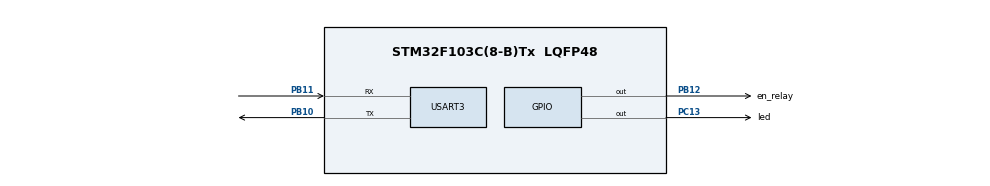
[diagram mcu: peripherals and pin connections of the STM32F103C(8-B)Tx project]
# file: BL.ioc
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IWDG.Prescaler=IWDG_PRESCALER_8
IWDG.Reload=2500
Mcu.Family=STM32F1
Mcu.Name=STM32F103C(8-B)Tx
Mcu.Package=LQFP48
NVIC.PriorityGroup=NVIC_PRIORITYGROUP_4
NVIC.USART3_IRQn=true\:1\:0\:true\:false\:true\:true\:true\:true
PA13.Mode=Serial_Wire
PA13.Signal=SYS_JTMS-SWDIO
PA14.Mode=Serial_Wire
PA14.Signal=SYS_JTCK-SWCLK
PA4.GPIO_Label=ntc_pcb
PA4.Signal=ADCx_IN4
PA5.GPIO_Label=div5v
PA5.Signal=ADCx_IN5
PA6.GPIO_Label=divm3v
PA6.Signal=ADCx_IN6
PA7.GPIO_Label=Teng
PA7.Signal=ADCx_IN7
PA8.GPIO_Label=pwm_in
PA8.Signal=S_TIM1_CH1
PB10.Mode=Asynchronous
PB10.Signal=USART3_TX
PB11.Mode=Asynchronous
PB11.Signal=USART3_RX
PB12.GPIO_Label=en_relay
PB12.Signal=GPIO_Output
PC13-TAMPER-RTC.GPIO_Label=led
PC13-TAMPER-RTC.Signal=GPIO_Output
PD0-OSC_IN.Mode=HSE-External-Oscillator
PD0-OSC_IN.Signal=RCC_OSC_IN
PD1-OSC_OUT.Mode=HSE-External-Oscillator
PD1-OSC_OUT.Signal=RCC_OSC_OUT
ProjectManager.HeapSize=0x100
ProjectManager.StackSize=0x400
ProjectManager.TargetToolchain=Makefile
RCC.ADCPresc=RCC_ADCPCLK2_DIV8
RCC.AHBFreq_Value=72000000
RCC.APB1CLKDivider=RCC_HCLK_DIV2
RCC.APB1Freq_Value=36000000
RCC.APB1TimFreq_Value=72000000
RCC.APB2CLKDivider=RCC_HCLK_DIV8
RCC.APB2Freq_Value=9000000
RCC.APB2TimFreq_Value=18000000
RCC.HCLKFreq_Value=72000000
RCC.PLLMUL=RCC_PLL_MUL9
RCC.PLLSourceVirtual=RCC_PLLSOURCE_HSE
RCC.SYSCLKFreq_VALUE=72000000
RCC.SYSCLKSource=RCC_SYSCLKSOURCE_PLLCLK
RCC.USBFreq_Value=72000000
SH.ADCx_IN4.0=ADC1_IN4
SH.ADCx_IN5.0=ADC1_IN5
SH.ADCx_IN6.0=ADC1_IN6
SH.ADCx_IN7.0=ADC1_IN7
SH.S_TIM1_CH1.0=TIM1_CH1
USART3.VirtualMode=VM_ASYNC
VP_IWDG_VS_IWDG.Mode=IWDG_Activate
board=custom

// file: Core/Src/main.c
/* USER CODE BEGIN Header */
/**
  ******************************************************************************
  * @file           : main.c
  * @brief          : Main program body
  ******************************************************************************
  * @attention
  *
  * Copyright (c) 2023 STMicroelectronics.
  * All rights reserved.
  *
  * This software is licensed under terms that can be found in the LICENSE file
  * in the root directory of this software component.
  * If no LICENSE file comes with this software, it is provided AS-IS.
  *
  ******************************************************************************
  */
/* USER CODE END Header */
#include "main.h"
#include "iwdg.h"
#include "usart.h"
#include "gpio.h"

/* USER CODE BEGIN Includes */
#include "device.h"
#include "stm32f1xx_it.h"
#include "usart_console.h"
/* USER CODE END Includes */

/* USER CODE BEGIN PV */
extern uint16_t dma_buffer[];
extern uint32_t __isr_vector_end;
/* USER CODE END PV */

void SystemClock_Config(void);

int main(void)
{
  /* USER CODE BEGIN 1 */
  #ifdef CHECK_STACK_HEAP
  init_heap_check();
  init_stack_check();
  #endif/* CHECK_STACK_HEAP */
  /* USER CODE END 1 */

  /* MCU Configuration--------------------------------------------------------*/

  /* Reset of all peripherals, Initializes the Flash interface and the Systick. */
  LL_APB2_GRP1_EnableClock(LL_APB2_GRP1_PERIPH_AFIO);
  LL_APB1_GRP1_EnableClock(LL_APB1_GRP1_PERIPH_PWR);

  /* System interrupt init*/
  NVIC_SetPriorityGrouping(NVIC_PRIORITYGROUP_4);

  /** NOJTAG: JTAG-DP Disabled and SW-DP Enabled
  */
  LL_GPIO_AF_Remap_SWJ_NOJTAG();

  /* Configure the system clock */
  SystemClock_Config();

  /* USER CODE BEGIN SysInit */
  SysTick ->CTRL |= SysTick_CTRL_TICKINT_Msk;/* Enable systick interrupt */
  /* USER CODE END SysInit */

  /* Initialize all configured peripherals */
  MX_GPIO_Init();
  MX_USART3_UART_Init();
  MX_IWDG_Init();
  /* USER CODE BEGIN 2 */
  LL_GPIO_SetOutputPin(led_GPIO_Port,led_Pin);/* Disable green led */
  if(app_call_st == REQ_FROM_APP){
    app_call_st = 0;
  }else{
    volatile uint32_t fw_signature_addr = (uint32_t)&__isr_vector_end - FLASH_BASE;
    uint16_t* u16ptr = (uint16_t*)&app_call_cnt;
    fw_signature_addr += fw_signature_addr%8;
    fw_signature_addr += APL_START_ADDRES;
    if((*((uint64_t*)fw_signature_addr) == FW_SIGNATURE) )
    {
      if(u16ptr[0] == RESET_SIGNATURE)
      {
        if(u16ptr[1] < 5)
        {
          u16ptr[1]++;
          go_to_app();
        }else{
          printf("App call cnt > 5"NLINE);
        }
      }else{
        u16ptr[0] = RESET_SIGNATURE;
        u16ptr[1] = 1;
        go_to_app();
      }
    }else{
      printf("Application signature fail"NLINE);
    }
  }
  printf("bootloader started"NLINE);
  /* USER CODE END 2 */

  /* Infinite loop */
  /* USER CODE BEGIN WHILE */
  while (1)
  {
    TASK(console_handler,100);
    TASK(wdgs_refresh, 5);
    LED_TONGLE_MS(100)
    /* USER CODE END WHILE */

  }
}

void SystemClock_Config(void)
{
  LL_FLASH_SetLatency(LL_FLASH_LATENCY_2);
  while(LL_FLASH_GetLatency()!= LL_FLASH_LATENCY_2)
  {
  }
  LL_RCC_HSE_Enable();

   /* Wait till HSE is ready */
  while(LL_RCC_HSE_IsReady() != 1)
  {

  }
  LL_RCC_LSI_Enable();

   /* Wait till LSI is ready */
  while(LL_RCC_LSI_IsReady() != 1)
  {

  }
  LL_RCC_PLL_ConfigDomain_SYS(LL_RCC_PLLSOURCE_HSE_DIV_1, LL_RCC_PLL_MUL_9);
  LL_RCC_PLL_Enable();

   /* Wait till PLL is ready */
  while(LL_RCC_PLL_IsReady() != 1)
  {

  }
  LL_RCC_SetAHBPrescaler(LL_RCC_SYSCLK_DIV_1);
  LL_RCC_SetAPB1Prescaler(LL_RCC_APB1_DIV_2);
  LL_RCC_SetAPB2Prescaler(LL_RCC_APB2_DIV_8);
  LL_RCC_SetSysClkSource(LL_RCC_SYS_CLKSOURCE_PLL);

   /* Wait till System clock is ready */
  while(LL_RCC_GetSysClkSource() != LL_RCC_SYS_CLKSOURCE_STATUS_PLL)
  {

  }
  LL_Init1msTick(72000000);
  LL_SetSystemCoreClock(72000000);
}

/* USER CODE BEGIN 4 */
void wdgs_refresh(void)
{
  iwdg_refresh();
}

void go_to_app(void)
{
  uint32_t app_jump_addr;
	void (*go2app)(void);

  __disable_irq();
  LL_RCC_DeInit();
  LL_USART_DeInit(USART3);

	app_jump_addr = *((volatile uint32_t*) (APL_START_ADDRES + 4));/* getting address application Reset Handler() */
	go2app = (void (*)(void))app_jump_addr;
	__set_MSP(*((volatile uint32_t*)(APL_START_ADDRES))); /* load init address to Stack Point */
  wdgs_refresh();
	go2app();
}
/* USER CODE END 4 */

void Error_Handler(void)
{
  __disable_irq();
  while (1)
  {
  }
}
